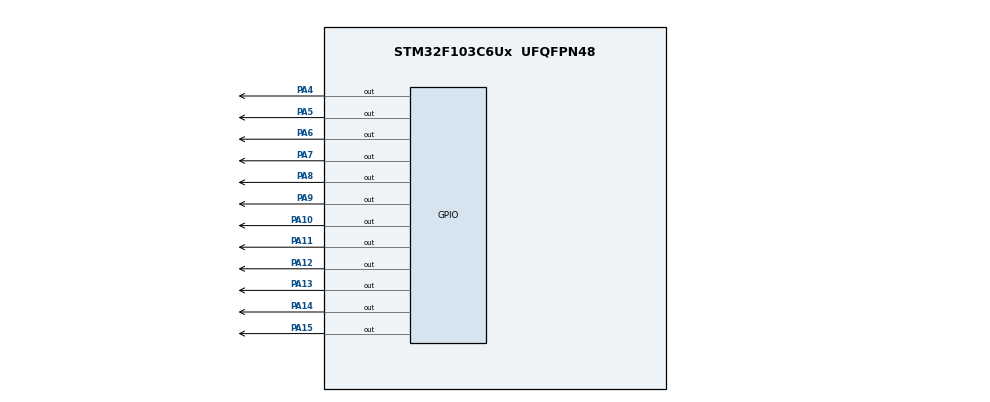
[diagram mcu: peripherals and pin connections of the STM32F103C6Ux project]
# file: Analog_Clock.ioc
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Mcu.Family=STM32F1
Mcu.Name=STM32F103C6Ux
Mcu.Package=UFQFPN48
NVIC.PriorityGroup=NVIC_PRIORITYGROUP_4
PA10.Signal=GPIO_Output
PA11.Signal=GPIO_Output
PA12.Signal=GPIO_Output
PA13.Signal=GPIO_Output
PA14.Signal=GPIO_Output
PA15.Signal=GPIO_Output
PA4.Signal=GPIO_Output
PA5.Signal=GPIO_Output
PA6.Signal=GPIO_Output
PA7.Signal=GPIO_Output
PA8.Signal=GPIO_Output
PA9.Signal=GPIO_Output
ProjectManager.HeapSize=0x200
ProjectManager.StackSize=0x400
ProjectManager.TargetToolchain=STM32CubeIDE
RCC.APB1Freq_Value=8000000
RCC.APB2Freq_Value=8000000
VP_SYS_VS_ND.Mode=No_Debug
board=custom

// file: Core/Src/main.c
/* USER CODE BEGIN Header */
/**
  ******************************************************************************
  * @file           : main.c
  * @brief          : Main program body
  ******************************************************************************
  * @attention
  *
  * <h2><center>&copy; Copyright (c) 2025 STMicroelectronics.
  * All rights reserved.</center></h2>
  *
  * This software component is licensed by ST under BSD 3-Clause license,
  * the "License"; You may not use this file except in compliance with the
  * License. You may obtain a copy of the License at:
  *                        opensource.org/licenses/BSD-3-Clause
  *
  ******************************************************************************
  */
/* USER CODE END Header */
#include "main.h"

void SystemClock_Config(void);
static void MX_GPIO_Init(void);

int main(void)
{

  /* MCU Configuration--------------------------------------------------------*/

  /* Reset of all peripherals, Initializes the Flash interface and the Systick. */
  HAL_Init();

  /* Configure the system clock */
  SystemClock_Config();

  /* Initialize all configured peripherals */
  MX_GPIO_Init();

  /* Infinite loop */
  /* USER CODE BEGIN WHILE */
  static const uint16_t PINS[12]={
		  GPIO_PIN_4,
		  GPIO_PIN_5,
		  GPIO_PIN_6,
		  GPIO_PIN_7,
		  GPIO_PIN_8,
		  GPIO_PIN_9,
		  GPIO_PIN_10,
		  GPIO_PIN_11,
		  GPIO_PIN_12,
		  GPIO_PIN_13,
		  GPIO_PIN_14,
		  GPIO_PIN_15
  };

  void clearAllClock(){
  	   for(int i=0;i<12;i++){
  		   HAL_GPIO_WritePin(GPIOA, PINS[i], RESET);
  	   }
     }
  void setNumberOnClock(int num){
	  if(num<0 || num >11) return;
	  HAL_GPIO_WritePin(GPIOA, PINS[num], SET);
  }
  void clearNumberOnClock(int num){
	  HAL_GPIO_WritePin(GPIOA, PINS[num], RESET);
  }
  void Show_Time(int hour, int minute, int second) {
      HAL_GPIO_WritePin(GPIOA, PINS[hour],SET);
      HAL_GPIO_WritePin(GPIOA, PINS[minute],SET);
      HAL_GPIO_WritePin(GPIOA, PINS[second],SET);
  }
  int hour =8, minute =53, second =0;
  while (1)
  {
	  int h_pos = hour % 12;
	  int m_pos = (minute / 5) % 12;
	  int s_pos = (second / 5) % 12;
    /* USER CODE END WHILE */
	  Show_Time(h_pos,m_pos,s_pos);
//	  if(count>11) count = 0;
//	  clearAllClock();
//	  HAL_GPIO_WritePin(GPIOA, PINS[count], SET);
//	  count++;
	  HAL_Delay(10);
	  clearNumberOnClock(s_pos);
	  second++;
	  if (second >= 60) {
		  second = 0;
		  clearNumberOnClock(m_pos);
		  minute++;
	  }
	  if (minute >= 60) {
		  minute = 0;
		  clearNumberOnClock(h_pos);
		  hour++;
	  }
	  if (hour >= 12)   {
		  hour = 0;
	  }
  }
}

void SystemClock_Config(void)
{
  RCC_OscInitTypeDef RCC_OscInitStruct = {0};
  RCC_ClkInitTypeDef RCC_ClkInitStruct = {0};

  /** Initializes the RCC Oscillators according to the specified parameters
  * in the RCC_OscInitTypeDef structure.
  */
  RCC_OscInitStruct.OscillatorType = RCC_OSCILLATORTYPE_HSI;
  RCC_OscInitStruct.HSIState = RCC_HSI_ON;
  RCC_OscInitStruct.HSICalibrationValue = RCC_HSICALIBRATION_DEFAULT;
  RCC_OscInitStruct.PLL.PLLState = RCC_PLL_NONE;
  if (HAL_RCC_OscConfig(&RCC_OscInitStruct) != HAL_OK)
  {
    Error_Handler();
  }
  /** Initializes the CPU, AHB and APB buses clocks
  */
  RCC_ClkInitStruct.ClockType = RCC_CLOCKTYPE_HCLK|RCC_CLOCKTYPE_SYSCLK
                              |RCC_CLOCKTYPE_PCLK1|RCC_CLOCKTYPE_PCLK2;
  RCC_ClkInitStruct.SYSCLKSource = RCC_SYSCLKSOURCE_HSI;
  RCC_ClkInitStruct.AHBCLKDivider = RCC_SYSCLK_DIV1;
  RCC_ClkInitStruct.APB1CLKDivider = RCC_HCLK_DIV1;
  RCC_ClkInitStruct.APB2CLKDivider = RCC_HCLK_DIV1;

  if (HAL_RCC_ClockConfig(&RCC_ClkInitStruct, FLASH_LATENCY_0) != HAL_OK)
  {
    Error_Handler();
  }
}

static void MX_GPIO_Init(void)
{
  GPIO_InitTypeDef GPIO_InitStruct = {0};

  /* GPIO Ports Clock Enable */
  __HAL_RCC_GPIOA_CLK_ENABLE();

  /*Configure GPIO pin Output Level */
  HAL_GPIO_WritePin(GPIOA, GPIO_PIN_4|GPIO_PIN_5|GPIO_PIN_6|GPIO_PIN_7
                          |GPIO_PIN_8|GPIO_PIN_9|GPIO_PIN_10|GPIO_PIN_11
                          |GPIO_PIN_12|GPIO_PIN_13|GPIO_PIN_14|GPIO_PIN_15, GPIO_PIN_RESET);

  /*Configure GPIO pins : PA4 PA5 PA6 PA7
                           PA8 PA9 PA10 PA11
                           PA12 PA13 PA14 PA15 */
  GPIO_InitStruct.Pin = GPIO_PIN_4|GPIO_PIN_5|GPIO_PIN_6|GPIO_PIN_7
                          |GPIO_PIN_8|GPIO_PIN_9|GPIO_PIN_10|GPIO_PIN_11
                          |GPIO_PIN_12|GPIO_PIN_13|GPIO_PIN_14|GPIO_PIN_15;
  GPIO_InitStruct.Mode = GPIO_MODE_OUTPUT_PP;
  GPIO_InitStruct.Pull = GPIO_NOPULL;
  GPIO_InitStruct.Speed = GPIO_SPEED_FREQ_LOW;
  HAL_GPIO_Init(GPIOA, &GPIO_InitStruct);

}

void Error_Handler(void)
{
  __disable_irq();
  while (1)
  {
  }
}

/************************ (C) COPYRIGHT STMicroelectronics *****END OF FILE****/
